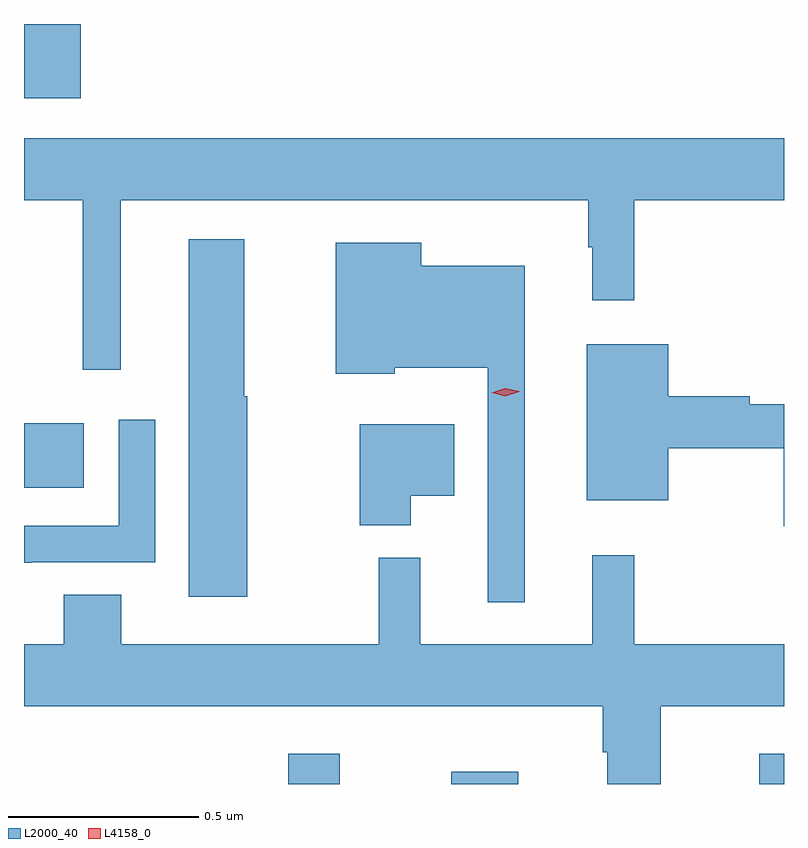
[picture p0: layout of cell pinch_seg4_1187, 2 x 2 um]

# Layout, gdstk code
import gdstk
lib = gdstk.Library(unit=1e-6, precision=1e-09)
def R(c, l, rs):  # rectangles x0, y0, x1, y1
    for r in rs: c.add(gdstk.rectangle(r[:2], r[2:], *l))
def P(c, l, *ps):  # polygons
    for p in ps: c.add(gdstk.Polygon(p, *l))
L2000_40 = (2000, 40)
L4158_0 = (4158, 0)

pinch_seg4_1187 = lib.new_cell('pinch_seg4_1187')
R(pinch_seg4_1187, L2000_40, [(485.28,773.972,485.415,774.052), (485.708,773.972,485.884,774.004), (486.519,773.972,486.584,774.052), (484.584,774.752,484.741,774.922), (484.584,775.776,484.733,775.972)])
P(pinch_seg4_1187, L2000_40, [(484.838,775.508),(486.069,775.508),(486.069,775.385),(486.08,775.385),(486.08,775.245),(486.19,775.245),(486.19,775.508),(486.584,775.508),(486.584,775.672),(484.584,775.672),(484.584,775.508),(484.739,775.508),(484.739,775.062),(484.838,775.062)],
  [(485.172,774.992),(485.164,774.992),(485.164,775.405),(485.018,775.405),(485.018,774.465),(485.172,774.465)],
  [(485.902,775.336),(485.629,775.336),(485.629,775.396),(485.405,775.396),(485.405,775.052),(485.559,775.052),(485.559,775.067),(485.805,775.067),(485.805,774.45),(485.902,774.45)],
  [(486.584,774.972),(486.494,774.972),(486.494,774.992),(486.28,774.992),(486.28,775.129),(486.065,775.129),(486.065,774.719),(486.28,774.719),(486.28,774.856),(486.583,774.856),(486.583,774.65),(486.584,774.65)],
  [(484.604,774.555),(484.929,774.555),(484.929,774.931),(484.833,774.931),(484.833,774.651),(484.584,774.651),(484.584,774.554),(484.604,774.554)],
  [(485.602,774.731),(485.716,774.731),(485.716,774.919),(485.468,774.919),(485.468,774.653),(485.602,774.653)],
  [(485.517,774.568),(485.517,774.34),(484.84,774.34),(484.84,774.47),(484.688,774.47),(484.688,774.34),(484.584,774.34),(484.584,774.176),(486.107,774.176),(486.107,774.056),(486.119,774.056),(486.119,773.972),(486.259,773.972),(486.259,774.176),(486.584,774.176),(486.584,774.34),(486.19,774.34),(486.19,774.574),(486.08,774.574),(486.08,774.34),(485.627,774.34),(485.627,774.568)])
P(pinch_seg4_1187, L4158_0, [(485.851,774.993),(485.815,775.001),(485.815,775.001),(485.815,775.002),(485.85,775.013),(485.887,775.005),(485.887,775.005),(485.887,775.004)])

lib.write_gds('pinch_seg4_1187.gds')
